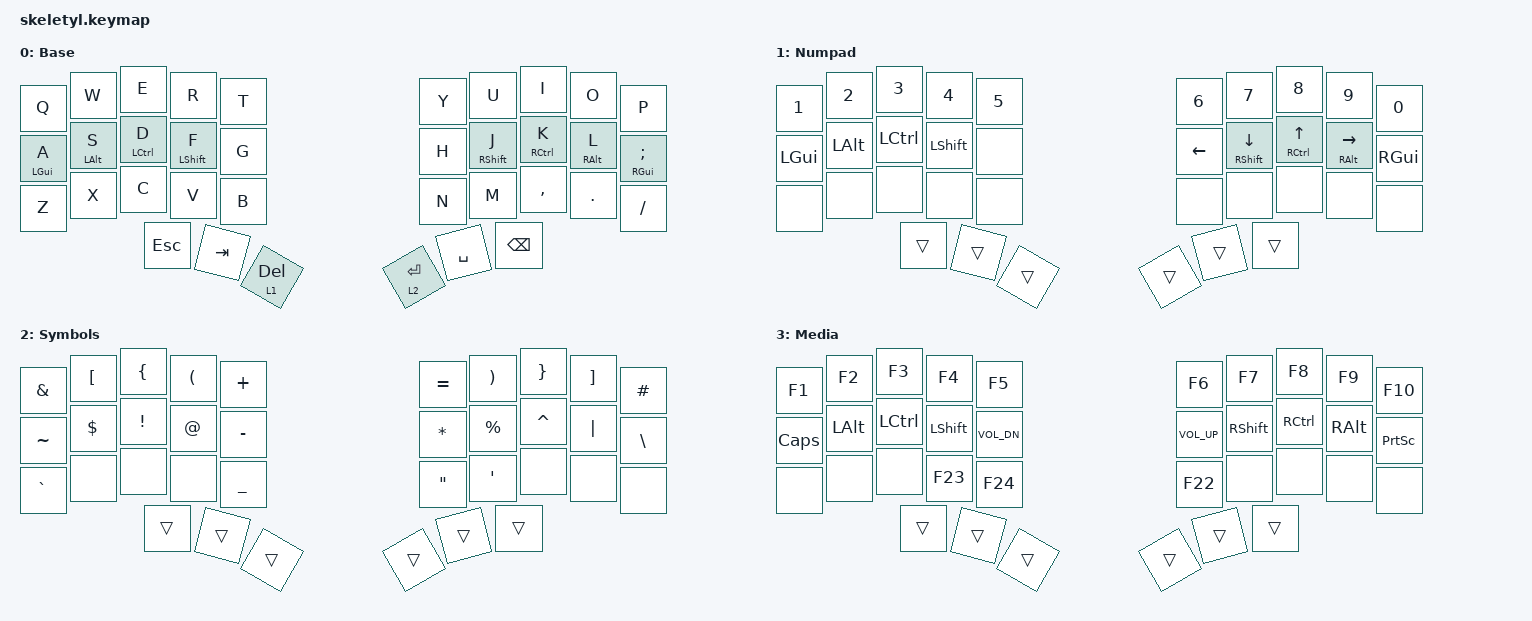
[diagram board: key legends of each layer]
#include <behaviors.dtsi>
#include <dt-bindings/zmk/keys.h>
#include <dt-bindings/zmk/bt.h>
#include <dt-bindings/zmk/outputs.h>
#include <dt-bindings/zmk/keys.h>
#include <dt-bindings/zmk/behaviors.h>

&lt {
    tapping-term-ms = <240>;
    flavor = "balanced";
    quick-tap-ms = <150>;
};


/ {
    behaviors {
            mt: mod_tap {
                compatible = "zmk,behavior-hold-tap";
                #binding-cells = <2>;
                flavor = "balanced";
                tapping-term-ms = <240>;
                quick-tap-ms = <230>;
                bindings = <&kp>, <&kp>;
                display-name = "Mod-Tap";
            };
        };

    conditional_layers {
            compatible = "zmk,conditional-layers";
            tri_layer {
                if-layers = <1 2>;
                then-layer = <3>;
            };
    };

    keymap {
        compatible = "zmk,keymap";

        Base {
            label = "Base";
            bindings = <
    &kp Q       &kp W          &kp E         &kp R         &kp T        &kp Y      &kp U          &kp I          &kp O       &kp P
    &mt LGUI A  &mt LALT S     &mt LCTRL D   &mt LSHFT F   &kp G        &kp H      &mt RSHFT J    &mt RCTRL K    &mt RALT L  &mt RGUI SEMI
    &kp Z       &kp X          &kp C         &kp V         &kp B        &kp N      &kp M          &kp COMMA      &kp DOT     &kp FSLH
                          &kp ESC       &kp TAB       &lt 1 DEL    &lt 2 RET  &kp SPACE      &kp BSPC
            >;
        };

        Lower {
            label = "Numpad";
            bindings = <
    &kp N1    &kp N2     &kp N3      &kp N4     &kp N5      &kp N6     &kp N7          &kp N8          &kp N9            &kp N0 
    &kp LGUI  &kp LALT   &kp LCTRL   &kp LSHFT  &none       &kp LEFT   &mt RSHFT DOWN  &mt RCTRL UP    &mt RALT RIGHT    &kp RGUI
    &none     &none      &none       &none      &none       &none      &none           &none           &none             &none
                         &trans      &trans     &trans      &trans     &trans          &trans
            >;
        };

        Raise {
            label = "Symbols";
            bindings = <
    &kp AMPS       &kp LBKT    &kp LBRC   &kp LPAR     &kp PLUS    &kp EQUAL   &kp RPAR    &kp RBRC  &kp RBKT  &kp HASH
    &kp TILDE      &kp DLLR    &kp EXCL   &kp AT       &kp MINUS   &kp STAR    &kp PRCNT   &kp CARET &kp PIPE  &kp BSLH
    &kp GRAVE      &none       &none     &none        &kp UNDER    &kp DQT     &kp APOS    &none     &none     &none
                               &trans    &trans       &trans       &trans      &trans      &trans
            >;
        };

        MEDIA {
            label = "Media";
            bindings = <
    &kp F1       &kp F2      &kp F3      &kp F4     &kp F5       &kp F6          &kp F7      &kp F8       &kp F9     &kp F10
    &kp CAPS     &kp LALT    &kp LCTRL   &kp LSHFT &kp C_VOL_DN  &kp C_VOL_UP    &kp RSHFT   &kp RCTRL    &kp RALT   &kp PSCRN
    &none        &none       &none       &kp F23    &kp F24      &kp F22         &none       &none        &none      &none
                             &trans      &trans    &trans        &trans          &trans      &trans
            >;
        };
    };
};
